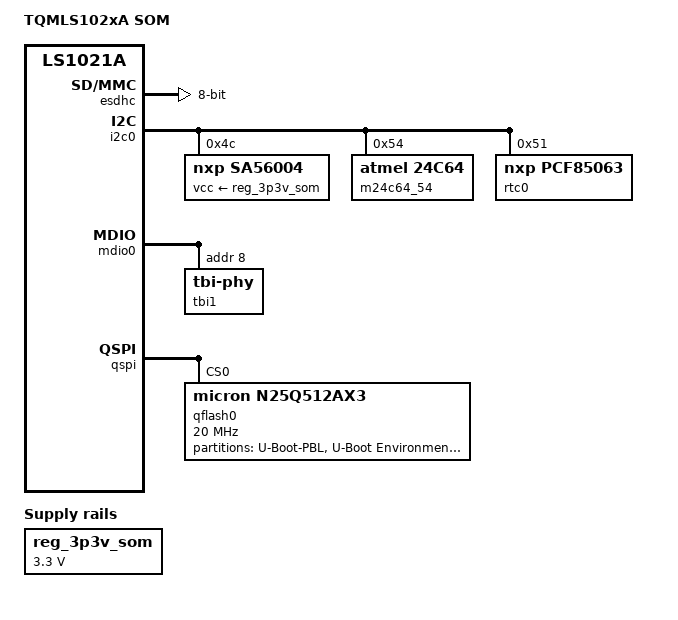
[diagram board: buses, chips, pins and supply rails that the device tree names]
// SPDX-License-Identifier: (GPL-2.0-or-later OR X11)
/*
 * Copyright 2013-2014 Freescale Semiconductor, Inc.
 * Copyright 2018-2020 TQ Systems GmbH
 */

#include "ls1021a.dtsi"

/ {
	model = "TQMLS102xA SOM";
	compatible = "tq,ls1021a-tqmls1021a", "fsl,ls1021a";

	reg_3p3v_som: regulator-3p3v-som {
		compatible = "regulator-fixed";
		regulator-name = "3P3V_SOM";
		regulator-min-microvolt = <3300000>;
		regulator-max-microvolt = <3300000>;
		regulator-always-on;
	};

	timer {
		always-on;
	};
};

&esdhc {
	compatible = "fsl,esdhc", "fsl,ls1021a-esdhc";
	/* e-MMC over 8 data lines */
	bus-width = <8>;
	status = "okay";
};

&i2c0 {
	status = "okay";

	mc34vr500: pmic@8 {
		reg = <0x08>;
		status = "disabled";
	};

	sa56004: temperature-sensor@4c {
		compatible = "nxp,sa56004";
		reg = <0x4c>;
		vcc-supply = <&reg_3p3v_som>;
		status = "okay";
	};

	pmc0: pmc@11 {
		reg = <0x11>;
		interrupts = <GIC_SPI 165 IRQ_TYPE_LEVEL_HIGH>;
		status = "disabled";
	};

	adm1069: supervisor@4f {
		reg = <0x4f>;
		status = "disabled";
	};

	m24c64_54: eeprom@54 {
		compatible = "atmel,24c64";
		reg = <0x54>;
		pagesize = <32>;
		status = "okay";
	};

	rtc0: rtc@51 {
		compatible = "nxp,pcf85063";
		nxp,quartz_load = "12.5pF";
		nxp,offset = <0x80>;
		reg = <0x51>;
		status = "okay";
	};
};

&mdio0 {
	tbi1: tbi-phy@8 {
		reg = <0x8>;
		device_type = "tbi-phy";
	};
};

&scfg {
	reg = <0x0 0x1570000 0x0 0x0e00>;
};

&qspi {
	status = "okay";

	qflash0: mt25ql512@0 {
		compatible = "micron,n25q512ax3", "jedec,spi-nor";
		#address-cells = <1>;
		#size-cells = <1>;
		spi-max-frequency = <20000000>;
		spi-rx-bus-width = <4>;
		spi-tx-bus-width = <4>;
		reg = <0>;

		partitions {
			compatible = "fixed-partitions";
			#address-cells = <1>;
			#size-cells = <1>;

			uboot@0 {
				label = "U-Boot-PBL";
				reg = <0x0 0xe0000>;
			};

			env@e0000 {
				label = "U-Boot Environment";
				reg = <0xe0000 0x10000>;
			};

			dtb@f0000 {
				label = "DTB";
				reg = <0xf0000 0x10000>;
			};

			linux@100000 {
				label = "Linux";
				reg = <0x100000 0x700000>;
			};

			rootfs@800000 {
				label = "RootFS";
				reg = <0x800000 0x3800000>;
			};
		};
	};
};
